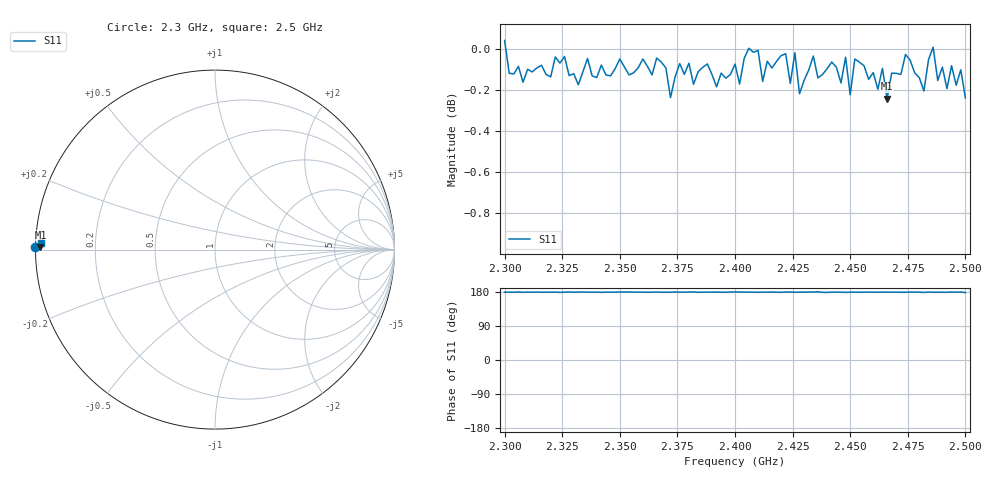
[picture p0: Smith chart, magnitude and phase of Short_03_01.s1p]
# HZ S RI R 50
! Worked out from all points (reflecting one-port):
!   101 points, 2.3 GHz to 2.5 GHz, reference 50 ohm
!   lowest |S11| = -0.2 dB at 2.466 GHz (marker M1), VSWR 71.75, Z = 0.697 + j0.377 ohm
!   phase of S11 starts at 179 deg and turns -1 deg over the sweep
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2.3e9  -1.005 0.0164
2.306e9  -0.9902 0.0082
2.308e9  -0.9811 0.0255
2.326e9  -0.9955 0.0186
2.332e9  -0.98 0.014
2.35e9  -0.9942 0.00992
2.366e9  -0.9948 0.01
2.372e9  -0.9728 0.0227
2.376e9  -0.9916 0.0166
2.4e9  -0.9915 0.00677
2.41e9  -0.9989 0.0234
2.422e9  -0.9972 0.0129
2.424e9  -0.9807 0.0115
2.426e9  -0.9976 0.0194
2.428e9  -0.9751 0.0158
2.434e9  -0.9959 0.0109
2.446e9  -0.9809 0.018
2.448e9  -0.9949 0.0265
2.45e9  -0.9745 0.0177
2.452e9  -0.9942 0.0169
2.466e9  -0.9724 0.0147
2.476e9  -0.9936 0.0112
2.482e9  -0.9762 0.0293
2.484e9  -0.9939 0.0117
2.486e9  -1.001 0.0221
2.492e9  -0.9777 0.0224
2.498e9  -0.9883 0.01
2.5e9  -0.9722 0.0364
